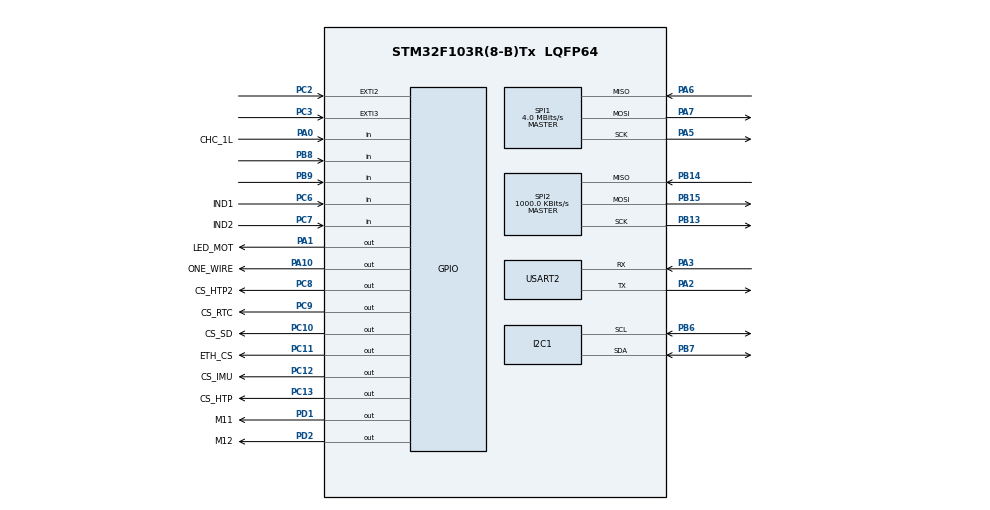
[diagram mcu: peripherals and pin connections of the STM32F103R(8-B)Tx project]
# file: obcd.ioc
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FREERTOS.Mutexes01=mxSensorData,Dynamic,NULL;mxUart,Dynamic,NULL;mxSPI1,Dynamic,NULL;mxSPI2,Dynamic,NULL;mxMotor,Dynamic,NULL;mxSensorConfig,Dynamic,NULL;mxI2C,Dynamic,NULL
FREERTOS.Tasks01=defaultTask,0,128,startDefaultTask,Default,NULL,Dynamic,NULL,NULL;vEthReceive,0,128,startEthReceive,Default,NULL,Dynamic,NULL,NULL;vEthStream,0,128,startEthStream,Default,NULL,Dynamic,NULL,NULL;vReadSensors,0,256,startReadSensors,Default,NULL,Dynamic,NULL,NULL;vControlMotor,0,128,startControlMotor,Default,NULL,Dynamic,NULL,NULL
FREERTOS.configTOTAL_HEAP_SIZE=8192
FREERTOS.configUSE_TIMERS=1
Mcu.Family=STM32F1
Mcu.Name=STM32F103R(8-B)Tx
Mcu.Package=LQFP64
NVIC.EXTI2_IRQn=true\:5\:0\:false\:false\:true\:true\:true
NVIC.EXTI3_IRQn=true\:5\:0\:false\:false\:true\:true\:true
NVIC.PriorityGroup=NVIC_PRIORITYGROUP_4
NVIC.TIM1_UP_IRQn=true\:0\:0\:false\:false\:true\:false\:false
NVIC.TimeBase=TIM1_UP_IRQn
NVIC.TimeBaseIP=TIM1
PA0-WKUP.GPIO_Label=CHC_1L
PA0-WKUP.Signal=GPIO_Input
PA1.GPIO_Label=LED_MOT
PA1.Signal=GPIO_Output
PA10.GPIO_Label=ONE_WIRE
PA10.Signal=GPIO_Output
PA2.Mode=Asynchronous
PA2.Signal=USART2_TX
PA3.Mode=Asynchronous
PA3.Signal=USART2_RX
PA5.Mode=Full_Duplex_Master
PA5.Signal=SPI1_SCK
PA6.Mode=Full_Duplex_Master
PA6.Signal=SPI1_MISO
PA7.Mode=Full_Duplex_Master
PA7.Signal=SPI1_MOSI
PB13.Mode=Full_Duplex_Master
PB13.Signal=SPI2_SCK
PB14.Mode=Full_Duplex_Master
PB14.Signal=SPI2_MISO
PB15.Mode=Full_Duplex_Master
PB15.Signal=SPI2_MOSI
PB6.Mode=I2C
PB6.Signal=I2C1_SCL
PB7.Mode=I2C
PB7.Signal=I2C1_SDA
PB8.Signal=GPIO_Input
PB9.Signal=GPIO_Input
PC10.GPIO_Label=CS_SD
PC10.Signal=GPIO_Output
PC11.GPIO_Label=ETH_CS
PC11.Signal=GPIO_Output
PC12.GPIO_Label=CS_IMU
PC12.Signal=GPIO_Output
PC13-TAMPER-RTC.GPIO_Label=CS_HTP
PC13-TAMPER-RTC.Signal=GPIO_Output
PC2.Signal=GPXTI2
PC3.Signal=GPXTI3
PC6.GPIO_Label=IND1
PC6.GPIO_PuPd=GPIO_PULLDOWN
PC6.Signal=GPIO_Input
PC7.GPIO_Label=IND2
PC7.GPIO_PuPd=GPIO_PULLDOWN
PC7.Signal=GPIO_Input
PC8.GPIO_Label=CS_HTP2
PC8.Signal=GPIO_Output
PC9.GPIO_Label=CS_RTC
PC9.Signal=GPIO_Output
PD1-OSC_OUT.GPIO_Label=M11
PD1-OSC_OUT.Signal=GPIO_Output
PD2.GPIO_Label=M12
PD2.Signal=GPIO_Output
ProjectManager.HeapSize=0x200
ProjectManager.StackSize=0x400
ProjectManager.TargetToolchain=SW4STM32
RCC.APB1Freq_Value=8000000
RCC.APB2Freq_Value=8000000
SPI1.CalculateBaudRate=4.0 MBits/s
SPI1.Direction=SPI_DIRECTION_2LINES
SPI1.Mode=SPI_MODE_MASTER
SPI1.VirtualType=VM_MASTER
SPI2.BaudRatePrescaler=SPI_BAUDRATEPRESCALER_8
SPI2.CalculateBaudRate=1000.0 KBits/s
SPI2.Direction=SPI_DIRECTION_2LINES
SPI2.Mode=SPI_MODE_MASTER
SPI2.VirtualType=VM_MASTER
USART2.VirtualMode=VM_ASYNC
VP_FREERTOS_VS_ENABLE.Mode=Enabled
VP_SYS_VS_ND.Mode=No_Debug
VP_SYS_VS_tim1.Mode=TIM1
board=custom

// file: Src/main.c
// TODO
// porzadek w nazwach plikow
// junk code removal
// lista rzeczy do zrobienia
// obsluga karty SD

/**
  ******************************************************************************
  * @file           : main.c
  * @brief          : Main program body
  ******************************************************************************
  * This notice applies to any and all portions of this file
  * that are not between comment pairs USER CODE BEGIN and
  * USER CODE END. Other portions of this file, whether
  * inserted by the user or by software development tools
  * are owned by their respective copyright owners.
  *
  * Copyright (c) 2018 STMicroelectronics International N.V.
  * All rights reserved.
  *
  * Redistribution and use in source and binary forms, with or without
  * modification, are permitted, provided that the following conditions are met:
  *
  * 1. Redistribution of source code must retain the above copyright notice,
  *    this list of conditions and the following disclaimer.
  * 2. Redistributions in binary form must reproduce the above copyright notice,
  *    this list of conditions and the following disclaimer in the documentation
  *    and/or other materials provided with the distribution.
  * 3. Neither the name of STMicroelectronics nor the names of other
  *    contributors to this software may be used to endorse or promote products
  *    derived from this software without specific written permission.
  * 4. This software, including modifications and/or derivative works of this
  *    software, must execute solely and exclusively on microcontroller or
  *    microprocessor devices manufactured by or for STMicroelectronics.
  * 5. Redistribution and use of this software other than as permitted under
  *    this license is void and will automatically terminate your rights under
  *    this license.
  *
  * THIS SOFTWARE IS PROVIDED BY STMICROELECTRONICS AND CONTRIBUTORS "AS IS"
  * AND ANY EXPRESS, IMPLIED OR STATUTORY WARRANTIES, INCLUDING, BUT NOT
  * LIMITED TO, THE IMPLIED WARRANTIES OF MERCHANTABILITY, FITNESS FOR A
  * PARTICULAR PURPOSE AND NON-INFRINGEMENT OF THIRD PARTY INTELLECTUAL PROPERTY
  * RIGHTS ARE DISCLAIMED TO THE FULLEST EXTENT PERMITTED BY LAW. IN NO EVENT
  * SHALL STMICROELECTRONICS OR CONTRIBUTORS BE LIABLE FOR ANY DIRECT, INDIRECT,
  * INCIDENTAL, SPECIAL, EXEMPLARY, OR CONSEQUENTIAL DAMAGES (INCLUDING, BUT NOT
  * LIMITED TO, PROCUREMENT OF SUBSTITUTE GOODS OR SERVICES; LOSS OF USE, DATA,
  * OR PROFITS; OR BUSINESS INTERRUPTION) HOWEVER CAUSED AND ON ANY THEORY OF
  * LIABILITY, WHETHER IN CONTRACT, STRICT LIABILITY, OR TORT (INCLUDING
  * NEGLIGENCE OR OTHERWISE) ARISING IN ANY WAY OUT OF THE USE OF THIS SOFTWARE,
  * EVEN IF ADVISED OF THE POSSIBILITY OF SUCH DAMAGE.
  *
  ******************************************************************************
  */
#include "main.h"
#include "stm32f1xx_hal.h"
#include "cmsis_os.h"

/* USER CODE BEGIN Includes */
#include "lustro/imu_lustro.h"
#include "lustro/comm_lustro.h"
#include "lustro/eth_lustro.h"
#include "lustro/transducers.h"
#include "lustro/sd_lustro.h"
#include "lustro/config_lustro.h"
#include "lustro/data_lustro.h"
#include "lustro/MPU9250.h"

#include <string.h>

/* USER CODE END Includes */

I2C_HandleTypeDef hi2c1;

SPI_HandleTypeDef hspi1;
SPI_HandleTypeDef hspi2;

UART_HandleTypeDef huart2;

osThreadId defaultTaskHandle;
osThreadId vEthReceiveHandle;
osThreadId vEthStreamHandle;
osThreadId vReadSensorsHandle;
osThreadId vControlMotorHandle;
osMutexId mxSensorDataHandle;
osMutexId mxUartHandle;
osMutexId mxSPI1Handle;
osMutexId mxSPI2Handle;
osMutexId mxMotorHandle;
osMutexId mxSensorConfigHandle;
osMutexId mxI2CHandle;

/* USER CODE BEGIN PV */
/* Private variables ---------------------------------------------------------*/
/* USER CODE END PV */

void SystemClock_Config(void);
static void MX_GPIO_Init(void);
static void MX_I2C1_Init(void);
static void MX_SPI1_Init(void);
static void MX_SPI2_Init(void);
static void MX_USART2_UART_Init(void);
void startDefaultTask(void const * argument);
void startEthReceive(void const * argument);
void startEthStream(void const * argument);
void startReadSensors(void const * argument);
void startControlMotor(void const * argument);

/* USER CODE BEGIN PFP */
/* Private function prototypes -----------------------------------------------*/

/* USER CODE END PFP */

int main(void)
{

  /* MCU Configuration----------------------------------------------------------*/

  /* Reset of all peripherals, Initializes the Flash interface and the Systick. */
  HAL_Init();

  /* Configure the system clock */
  SystemClock_Config();

  /* Initialize all configured peripherals */
  MX_GPIO_Init();
  MX_I2C1_Init();
  MX_SPI1_Init();
  MX_SPI2_Init();
  MX_USART2_UART_Init();
  /* USER CODE BEGIN 2 */

	ES_enc28j60Init(MAC);
	ES_init_ip_arp_udp_tcp(MAC, ip, port);
	enc28j60PhyWrite(PHLCON, 0x476);

	uint8_t tmp = enc28j60Read(0x00);
	sprintf(buf_uart, "tmp: 0x%02x\n\r", tmp);
	uart_send(buf_uart);

	enc28j60clkout(2);
	uart_send("initiated\n\r");

	motor_param = P_MOT_STOPPED;
	motor_actual = A_MOT_STOPPED;
	downstream_enable = 1;

  /* USER CODE END 2 */

  /* Create the mutex(es) */
  /* definition and creation of mxSensorData */
  osMutexDef(mxSensorData);
  mxSensorDataHandle = osMutexCreate(osMutex(mxSensorData));

  /* definition and creation of mxUart */
  osMutexDef(mxUart);
  mxUartHandle = osMutexCreate(osMutex(mxUart));

  /* definition and creation of mxSPI1 */
  osMutexDef(mxSPI1);
  mxSPI1Handle = osMutexCreate(osMutex(mxSPI1));

  /* definition and creation of mxSPI2 */
  osMutexDef(mxSPI2);
  mxSPI2Handle = osMutexCreate(osMutex(mxSPI2));

  /* definition and creation of mxMotor */
  osMutexDef(mxMotor);
  mxMotorHandle = osMutexCreate(osMutex(mxMotor));

  /* definition and creation of mxSensorConfig */
  osMutexDef(mxSensorConfig);
  mxSensorConfigHandle = osMutexCreate(osMutex(mxSensorConfig));

  /* definition and creation of mxI2C */
  osMutexDef(mxI2C);
  mxI2CHandle = osMutexCreate(osMutex(mxI2C));

  /* Create the thread(s) */
  /* definition and creation of defaultTask */
  osThreadDef(defaultTask, startDefaultTask, osPriorityNormal, 0, 128);
  defaultTaskHandle = osThreadCreate(osThread(defaultTask), NULL);

  /* definition and creation of vEthReceive */
  osThreadDef(vEthReceive, startEthReceive, osPriorityNormal, 0, 128);
  vEthReceiveHandle = osThreadCreate(osThread(vEthReceive), NULL);

  /* definition and creation of vEthStream */
  osThreadDef(vEthStream, startEthStream, osPriorityNormal, 0, 128);
  vEthStreamHandle = osThreadCreate(osThread(vEthStream), NULL);

  /* definition and creation of vReadSensors */
  osThreadDef(vReadSensors, startReadSensors, osPriorityNormal, 0, 256);
  vReadSensorsHandle = osThreadCreate(osThread(vReadSensors), NULL);

  /* definition and creation of vControlMotor */
  osThreadDef(vControlMotor, startControlMotor, osPriorityNormal, 0, 128);
  vControlMotorHandle = osThreadCreate(osThread(vControlMotor), NULL);

  /* Start scheduler */
  osKernelStart();

  /* We should never get here as control is now taken by the scheduler */

  /* Infinite loop */
	while (1)
	{

	}

}

void SystemClock_Config(void)
{

  RCC_OscInitTypeDef RCC_OscInitStruct;
  RCC_ClkInitTypeDef RCC_ClkInitStruct;

    /**Initializes the CPU, AHB and APB busses clocks
    */
  RCC_OscInitStruct.OscillatorType = RCC_OSCILLATORTYPE_HSI;
  RCC_OscInitStruct.HSIState = RCC_HSI_ON;
  RCC_OscInitStruct.HSICalibrationValue = 16;
  RCC_OscInitStruct.PLL.PLLState = RCC_PLL_NONE;
  if (HAL_RCC_OscConfig(&RCC_OscInitStruct) != HAL_OK)
  {
    _Error_Handler(__FILE__, __LINE__);
  }

    /**Initializes the CPU, AHB and APB busses clocks
    */
  RCC_ClkInitStruct.ClockType = RCC_CLOCKTYPE_HCLK|RCC_CLOCKTYPE_SYSCLK
                              |RCC_CLOCKTYPE_PCLK1|RCC_CLOCKTYPE_PCLK2;
  RCC_ClkInitStruct.SYSCLKSource = RCC_SYSCLKSOURCE_HSI;
  RCC_ClkInitStruct.AHBCLKDivider = RCC_SYSCLK_DIV1;
  RCC_ClkInitStruct.APB1CLKDivider = RCC_HCLK_DIV1;
  RCC_ClkInitStruct.APB2CLKDivider = RCC_HCLK_DIV1;

  if (HAL_RCC_ClockConfig(&RCC_ClkInitStruct, FLASH_LATENCY_0) != HAL_OK)
  {
    _Error_Handler(__FILE__, __LINE__);
  }

    /**Configure the Systick interrupt time
    */
  HAL_SYSTICK_Config(HAL_RCC_GetHCLKFreq()/1000);

    /**Configure the Systick
    */
  HAL_SYSTICK_CLKSourceConfig(SYSTICK_CLKSOURCE_HCLK);

  /* SysTick_IRQn interrupt configuration */
  HAL_NVIC_SetPriority(SysTick_IRQn, 15, 0);
}

/* I2C1 init function */
static void MX_I2C1_Init(void)
{

  hi2c1.Instance = I2C1;
  hi2c1.Init.ClockSpeed = 100000;
  hi2c1.Init.DutyCycle = I2C_DUTYCYCLE_2;
  hi2c1.Init.OwnAddress1 = 0;
  hi2c1.Init.AddressingMode = I2C_ADDRESSINGMODE_7BIT;
  hi2c1.Init.DualAddressMode = I2C_DUALADDRESS_DISABLE;
  hi2c1.Init.OwnAddress2 = 0;
  hi2c1.Init.GeneralCallMode = I2C_GENERALCALL_DISABLE;
  hi2c1.Init.NoStretchMode = I2C_NOSTRETCH_DISABLE;
  if (HAL_I2C_Init(&hi2c1) != HAL_OK)
  {
    _Error_Handler(__FILE__, __LINE__);
  }

}

/* SPI1 init function */
static void MX_SPI1_Init(void)
{

  /* SPI1 parameter configuration*/
  hspi1.Instance = SPI1;
  hspi1.Init.Mode = SPI_MODE_MASTER;
  hspi1.Init.Direction = SPI_DIRECTION_2LINES;
  hspi1.Init.DataSize = SPI_DATASIZE_8BIT;
  hspi1.Init.CLKPolarity = SPI_POLARITY_LOW;
  hspi1.Init.CLKPhase = SPI_PHASE_1EDGE;
  hspi1.Init.NSS = SPI_NSS_SOFT;
  hspi1.Init.BaudRatePrescaler = SPI_BAUDRATEPRESCALER_2;
  hspi1.Init.FirstBit = SPI_FIRSTBIT_MSB;
  hspi1.Init.TIMode = SPI_TIMODE_DISABLE;
  hspi1.Init.CRCCalculation = SPI_CRCCALCULATION_DISABLE;
  hspi1.Init.CRCPolynomial = 10;
  if (HAL_SPI_Init(&hspi1) != HAL_OK)
  {
    _Error_Handler(__FILE__, __LINE__);
  }

}

/* SPI2 init function */
static void MX_SPI2_Init(void)
{

  /* SPI2 parameter configuration*/
  hspi2.Instance = SPI2;
  hspi2.Init.Mode = SPI_MODE_MASTER;
  hspi2.Init.Direction = SPI_DIRECTION_2LINES;
  hspi2.Init.DataSize = SPI_DATASIZE_8BIT;
  hspi2.Init.CLKPolarity = SPI_POLARITY_LOW;
  hspi2.Init.CLKPhase = SPI_PHASE_1EDGE;
  hspi2.Init.NSS = SPI_NSS_SOFT;
  hspi2.Init.BaudRatePrescaler = SPI_BAUDRATEPRESCALER_8;
  hspi2.Init.FirstBit = SPI_FIRSTBIT_MSB;
  hspi2.Init.TIMode = SPI_TIMODE_DISABLE;
  hspi2.Init.CRCCalculation = SPI_CRCCALCULATION_DISABLE;
  hspi2.Init.CRCPolynomial = 10;
  if (HAL_SPI_Init(&hspi2) != HAL_OK)
  {
    _Error_Handler(__FILE__, __LINE__);
  }

}

/* USART2 init function */
static void MX_USART2_UART_Init(void)
{

  huart2.Instance = USART2;
  huart2.Init.BaudRate = 115200;
  huart2.Init.WordLength = UART_WORDLENGTH_8B;
  huart2.Init.StopBits = UART_STOPBITS_1;
  huart2.Init.Parity = UART_PARITY_NONE;
  huart2.Init.Mode = UART_MODE_TX_RX;
  huart2.Init.HwFlowCtl = UART_HWCONTROL_NONE;
  huart2.Init.OverSampling = UART_OVERSAMPLING_16;
  if (HAL_UART_Init(&huart2) != HAL_OK)
  {
    _Error_Handler(__FILE__, __LINE__);
  }

}

/** Configure pins as
        * Analog
        * Input
        * Output
        * EVENT_OUT
        * EXTI
*/
static void MX_GPIO_Init(void)
{

  GPIO_InitTypeDef GPIO_InitStruct;

  /* GPIO Ports Clock Enable */
  __HAL_RCC_GPIOC_CLK_ENABLE();
  __HAL_RCC_GPIOD_CLK_ENABLE();
  __HAL_RCC_GPIOA_CLK_ENABLE();
  __HAL_RCC_GPIOB_CLK_ENABLE();

  /*Configure GPIO pin Output Level */
  HAL_GPIO_WritePin(GPIOC, CS_HTP_Pin|CS_HTP2_Pin|CS_RTC_Pin|CS_SD_Pin
                          |ETH_CS_Pin|CS_IMU_Pin, GPIO_PIN_RESET);

  /*Configure GPIO pin Output Level */
  HAL_GPIO_WritePin(GPIOD, M11_Pin|M12_Pin, GPIO_PIN_RESET);

  /*Configure GPIO pin Output Level */
  HAL_GPIO_WritePin(GPIOA, LED_MOT_Pin|ONE_WIRE_Pin, GPIO_PIN_RESET);

  /*Configure GPIO pins : CS_HTP_Pin CS_HTP2_Pin CS_RTC_Pin CS_SD_Pin
                           ETH_CS_Pin CS_IMU_Pin */
  GPIO_InitStruct.Pin = CS_HTP_Pin|CS_HTP2_Pin|CS_RTC_Pin|CS_SD_Pin
                          |ETH_CS_Pin|CS_IMU_Pin;
  GPIO_InitStruct.Mode = GPIO_MODE_OUTPUT_PP;
  GPIO_InitStruct.Pull = GPIO_NOPULL;
  GPIO_InitStruct.Speed = GPIO_SPEED_FREQ_LOW;
  HAL_GPIO_Init(GPIOC, &GPIO_InitStruct);

  /*Configure GPIO pins : M11_Pin M12_Pin */
  GPIO_InitStruct.Pin = M11_Pin|M12_Pin;
  GPIO_InitStruct.Mode = GPIO_MODE_OUTPUT_PP;
  GPIO_InitStruct.Pull = GPIO_NOPULL;
  GPIO_InitStruct.Speed = GPIO_SPEED_FREQ_LOW;
  HAL_GPIO_Init(GPIOD, &GPIO_InitStruct);

  /*Configure GPIO pins : PC2 PC3 */
  GPIO_InitStruct.Pin = GPIO_PIN_2|GPIO_PIN_3;
  GPIO_InitStruct.Mode = GPIO_MODE_IT_RISING;
  GPIO_InitStruct.Pull = GPIO_NOPULL;
  HAL_GPIO_Init(GPIOC, &GPIO_InitStruct);

  /*Configure GPIO pin : CHC_1L_Pin */
  GPIO_InitStruct.Pin = CHC_1L_Pin;
  GPIO_InitStruct.Mode = GPIO_MODE_INPUT;
  GPIO_InitStruct.Pull = GPIO_NOPULL;
  HAL_GPIO_Init(CHC_1L_GPIO_Port, &GPIO_InitStruct);

  /*Configure GPIO pins : LED_MOT_Pin ONE_WIRE_Pin */
  GPIO_InitStruct.Pin = LED_MOT_Pin|ONE_WIRE_Pin;
  GPIO_InitStruct.Mode = GPIO_MODE_OUTPUT_PP;
  GPIO_InitStruct.Pull = GPIO_NOPULL;
  GPIO_InitStruct.Speed = GPIO_SPEED_FREQ_LOW;
  HAL_GPIO_Init(GPIOA, &GPIO_InitStruct);

  /*Configure GPIO pins : IND1_Pin IND2_Pin */
  GPIO_InitStruct.Pin = IND1_Pin|IND2_Pin;
  GPIO_InitStruct.Mode = GPIO_MODE_INPUT;
  GPIO_InitStruct.Pull = GPIO_PULLDOWN;
  HAL_GPIO_Init(GPIOC, &GPIO_InitStruct);

  /*Configure GPIO pins : PB8 PB9 */
  GPIO_InitStruct.Pin = GPIO_PIN_8|GPIO_PIN_9;
  GPIO_InitStruct.Mode = GPIO_MODE_INPUT;
  GPIO_InitStruct.Pull = GPIO_NOPULL;
  HAL_GPIO_Init(GPIOB, &GPIO_InitStruct);

  /*Configure peripheral I/O remapping */
  __HAL_AFIO_REMAP_PD01_ENABLE();

  /* EXTI interrupt init*/
  HAL_NVIC_SetPriority(EXTI2_IRQn, 5, 0);
  HAL_NVIC_EnableIRQ(EXTI2_IRQn);

  HAL_NVIC_SetPriority(EXTI3_IRQn, 5, 0);
  HAL_NVIC_EnableIRQ(EXTI3_IRQn);

}

/* startDefaultTask function */
void startDefaultTask(void const * argument)
{

  /* USER CODE BEGIN 5 */
	/* Infinite loop */
	for(;;) {
//		xSemaphoreTake(mxUartHandle, UART_TIMEOUT);
//		uart_send("default\n\r");
//		xSemaphoreGive(mxUartHandle);
		osDelay(1);
	}
  /* USER CODE END 5 */
}

/* startEthReceive function */
void startEthReceive(void const * argument)
{
  /* USER CODE BEGIN startEthReceive */
	/* Infinite loop */
	uint8_t flag = 10;
	for(;;) {
		xSemaphoreTake(mxSPI1Handle, SPI1_TIMEOUT);
		if ( !eth_pktrecv_valid() ) {
			xSemaphoreGive(mxSPI1Handle);
			osDelay(1);
			continue;
		}
		received_size = enc28j60PacketReceive(REC_BUF_SIZE, received);
		xSemaphoreTake(mxMotorHandle, MOTOR_TIMEOUT);
		flag = eth_packet_handler(received, received_size);
		xSemaphoreGive(mxMotorHandle);
		xSemaphoreGive(mxSPI1Handle);

		xSemaphoreTake( mxUartHandle, UART_TIMEOUT);
		if (flag == 0)
			uart_send("not for us\n\r");
		else if ( flag == 1 )
			uart_send("ARP received\n\r");
		else if (flag == 2)
			uart_send("Ping received\n\r");
		else if (flag == 3)
			uart_send("SYN received\n\r");
		else if (flag == 4)
			uart_send("FIN received\n\r");
		else if (flag == 5)
			uart_send("keep-alive received\n\r");
		else if (flag == 6)
			uart_send("ACK received\n\r");
		else
			uart_send("flag unknown\n\r");
		xSemaphoreGive( mxUartHandle );
		osDelay(1);
	}
  /* USER CODE END startEthReceive */
}

/* startEthStream function */
void startEthStream(void const * argument)
{
  /* USER CODE BEGIN startEthStream */
	/* Infinite loop */
	for(;;) {
		if ( !downstream_enable ) {
			osDelay(1);
			continue;
		}
		xSemaphoreTake(mxSensorDataHandle, DATA_TIMEOUT);
		xSemaphoreTake(mxSPI1Handle, SPI1_TIMEOUT);
		udp_send(data_readouts, LEN_DATA_TO_SEND);
		xSemaphoreGive(mxSPI1Handle);
		sprintf( mes_udp, "UDP sent\n\r");
//		sprintf(mes_udp, "UDP Packet:\n\r\t0x%02x\t0x%02x\t0x%02x\t0x%02x\n\r"
//				"\t0x%02x\t0x%02x\t0x%02x\t0x%02x\n\r"
//				"\t0x%02x\t0x%02x\t0x%02x\t0x%02x\n\r"
//				"\t0x%02x\t0x%02x\t0x%02x\t0x%02x\n\r"
//				"\t0x%02x\t0x%02x\t0x%02x\t0x%02x\n\r",
//				data_readouts[0], data_readouts[1], data_readouts[2], data_readouts[3],
//				data_readouts[4], data_readouts[5], data_readouts[6], data_readouts[7],
//				data_readouts[8], data_readouts[9], data_readouts[10], data_readouts[11],
//				data_readouts[12], data_readouts[13], data_readouts[14], data_readouts[15],
//				data_readouts[16], data_readouts[17], data_readouts[18], data_readouts[19]);
		xSemaphoreGive(mxSensorDataHandle);
		xSemaphoreTake( mxUartHandle, UART_TIMEOUT );
		uart_send(mes_udp);
		xSemaphoreGive( mxUartHandle );
		osDelay(10 * downstream_interval);
		//osDelay(1);
	}
  /* USER CODE END startEthStream */
}

/* startReadSensors function */
void startReadSensors(void const * argument)
{
  /* USER CODE BEGIN startReadSensors */
	/* Infinite loop */

	xSemaphoreTake(mxSensorConfigHandle, SENSORCONFIG_TIMEOUT);
	configAbra = configADC(defaultAbraPGA, mode_continuous, defaultAbraDR);
	configKadabra = configADC(defaultKadabraPGA, mode_continuous, defaultKadabraDR);
	configRaichu = configADC(defaultRaichuPGA, mode_continuous, defaultRaichuDR);
	configDiglett = configADC(defaultDiglettPGA, mode_continuous, defaultDiglettDR);

	xSemaphoreTake(mxI2CHandle, I2C_TIMEOUT);
	saveConfigADC( &hi2c1, aDiglett, configDiglett );
	saveConfigADC( &hi2c1, aAbra, configAbra );
	saveConfigADC( &hi2c1, aKadabra, configKadabra );
	saveConfigADC( &hi2c1, aRaichu, configRaichu );
	xSemaphoreGive(mxI2CHandle);

	uint16_t dest1[3] = {0};
	uint16_t dest2[3] = {0};
	xSemaphoreTake(mxSPI2Handle, SPI2_TIMEOUT);
	calibrateIMU(dest1, dest2);
	xSemaphoreGive(mxSPI2Handle);

	xSemaphoreGive(mxSensorConfigHandle);

	uint16_t wDiglett = 0, wAbra = 0 , wKadabra = 0, wRaichu = 0;
	uint16_t wIMUGyroX = 0, wIMUGyroY = 0, wIMUGyroZ = 0;
	uint16_t wIMUAccX = 0, wIMUAccY = 0, wIMUAccZ = 0;
	uint16_t wIMUMagX = 0, wIMUMagY = 0, wIMUMagZ = 0;
	uint16_t wIMUTemp = 0;

	uint16_t counter = 0;
	int temp_int = 0;

	uint8_t data[32] = {0}; // 6 bytes each
	uint8_t address[32];

	for(;;) {
		uptime = xTaskGetTickCount();

		if( write_new_conf_adc ) { // save new ADC configuration to sensors
			xSemaphoreTake(mxSensorConfigHandle, SENSORCONFIG_TIMEOUT);
			xSemaphoreTake(mxI2CHandle, I2C_TIMEOUT);
			saveConfigADC( &hi2c1, aDiglett, configDiglett );
			saveConfigADC( &hi2c1, aAbra, configAbra );
			saveConfigADC( &hi2c1, aKadabra, configKadabra );
			saveConfigADC( &hi2c1, aRaichu, configRaichu );
			write_new_conf_adc = 0;
			xSemaphoreGive(mxI2CHandle);
			xSemaphoreGive(mxSensorConfigHandle);
		}

		xSemaphoreTake( mxI2CHandle, I2C_TIMEOUT);
		wDiglett = readADC(aDiglett);
		wAbra = readADC(aAbra);
		wKadabra = readADC(aKadabra);
		wRaichu = readADC(aRaichu);
		xSemaphoreGive( mxI2CHandle );

//		xSemaphoreTake( mxSPI2Handle, SPI2_TIMEOUT);
//		readIMUGyro( &wIMUGyroX, &wIMUGyroY, &wIMUGyroZ );
//		xSemaphoreGive( mxSPI2Handle );
		IMURead(ACCEL_XOUT_H, 14, data);
//		address[0] = 0xBB;
//		HAL_GPIO_WritePin(CS_IMU_GPIO_Port, CS_IMU_Pin, GPIO_PIN_RESET);
//		xSemaphoreTake( mxSPI2Handle, SPI2_TIMEOUT);
//		HAL_SPI_TransmitReceive(&hspi2, address, data, 15, HAL_MAX_DELAY);
//		xSemaphoreGive( mxSPI2Handle );
//		HAL_GPIO_WritePin(CS_IMU_GPIO_Port, CS_IMU_Pin, GPIO_PIN_SET);
		wIMUAccX = (uint16_t)data[1] << 8 | data[2];
		wIMUAccY = (uint16_t)data[3] << 8 | data[4];
		wIMUAccZ = (uint16_t)data[5] << 8 | data[6];
		wIMUTemp = (uint16_t)data[7] << 8 | data[8];
		wIMUGyroX = (uint16_t)data[9] << 8 | data[10];
		wIMUGyroY = (uint16_t)data[11] << 8 | data[12];
		wIMUGyroZ = (uint16_t)data[13] << 8 | data[14];

		xSemaphoreTake( mxSensorDataHandle, DATA_TIMEOUT );
		data_readouts[0] = wDiglett;
		data_readouts[1] = wDiglett >> 8;

		data_readouts[2] = wAbra;
		data_readouts[3] = wAbra >> 8;

		data_readouts[4] = wKadabra;
		data_readouts[5] = wKadabra >> 8;

		data_readouts[6] = wRaichu;
		data_readouts[7] = wRaichu >> 8;

		data_readouts[8] = uptime;
		data_readouts[9] = uptime >> 8;
		data_readouts[10] = uptime >> 16;
		data_readouts[11] = uptime >> 24;

		data_readouts[12] = wIMUGyroX;
		data_readouts[13] = wIMUGyroX >> 8;

		data_readouts[14] = wIMUGyroY;
		data_readouts[15] = wIMUGyroY >> 8;

		data_readouts[16] = wIMUGyroZ;
		data_readouts[17] = wIMUGyroZ >> 8;

		data_readouts[18] = wIMUAccX;
		data_readouts[19] = wIMUAccX >> 8;

		data_readouts[20] = wIMUAccY;
		data_readouts[21] = wIMUAccY >> 8;

		data_readouts[22] = wIMUAccZ;
		data_readouts[23] = wIMUAccZ >> 8;

		data_readouts[24] = wIMUMagX;
		data_readouts[25] = wIMUMagX >> 8;

		data_readouts[26] = wIMUMagY;
		data_readouts[27] = wIMUMagY >> 8;

		data_readouts[28] = wIMUMagZ;
		data_readouts[29] = wIMUMagZ >> 8;

		data_readouts[30] = rotation_number;
		data_readouts[31] = rotation_number >> 8;

		data_readouts[32] = wIMUTemp;
		data_readouts[33] = wIMUTemp >> 8;
		data_readouts[34] = 0xFF;
		data_readouts[35] = 0xFF;
		data_readouts[36] = 0xFE;
		data_readouts[37] = 0xFF;

		xSemaphoreGive( mxSensorDataHandle );

		xSemaphoreTake( mxUartHandle, UART_TIMEOUT);
		sprintf( buf_uart,
				"t=%d\t%d\t%d\t%d\t%d\t%d\t%d\t%d\t%d\t%d\n\r",
				uptime, counter++, wDiglett, //wAbra, wKadabra, wRaichu,
				wIMUGyroX, wIMUGyroY, wIMUGyroZ,
				wIMUAccX, wIMUAccY, wIMUAccZ,
				wIMUTemp
				);
		uart_send( buf_uart );
		xSemaphoreGive( mxUartHandle);

//		if ( downstream_enable ) {
//			xSemaphoreTake(mxSensorDataHandle, DATA_TIMEOUT);
//			xSemaphoreTake(mxSPI1Handle, SPI1_TIMEOUT);
//			udp_send(data_readouts, LEN_DATA_TO_SEND);
//			xSemaphoreGive(mxSPI1Handle);
//			sprintf(mes_udp, "UDP Packet:\n\r\t0x%02x\t0x%02x\t0x%02x\t0x%02x\n\r"
//					"\t0x%02x\t0x%02x\t0x%02x\t0x%02x\n\r"
//					"\t0x%02x\t0x%02x\t0x%02x\t0x%02x\n\r",
//					data_readouts[0], data_readouts[1], data_readouts[2], data_readouts[3],
//					data_readouts[4], data_readouts[5], data_readouts[6], data_readouts[7],
//					data_readouts[28], data_readouts[29], data_readouts[30], data_readouts[31]);
//			xSemaphoreGive(mxSensorDataHandle);
//		}

		osDelay( 1 * data_readout_interval );
	}
  /* USER CODE END startReadSensors */
}

/* startControlMotor function */
void startControlMotor(void const * argument)
{
  /* USER CODE BEGIN startControlMotor */

  /* Infinite loop */
	for(;;) {
		xSemaphoreTake( mxMotorHandle, MOTOR_TIMEOUT );
		if ( motor_param != motor_actual) {
			if ( motor_param == P_MOT_RIGHT ) {
				enableMotorRight();
				motor_actual = A_MOT_RIGHT;
			}
			else if ( motor_param == P_MOT_LEFT ) {
				if ( motor_actual == A_MOT_RIGHT ) {
					disableMotor();
					motor_actual = A_MOT_STOPPED;
					for (uint16_t i = 0; i < 10000; i++);
				}
				enableMotorLeft();
				motor_actual = A_MOT_LEFT;
			}
			else if ( motor_param == P_MOT_STOPPED) {
				disableMotor();
				motor_actual = A_MOT_STOPPED;
			}
		}
		xSemaphoreGive( mxMotorHandle );
//		//read_temp( temp , no );
//		//temp_int = ds18b20_read_temp();
////		if ( temp > MAX_MOT_TEMP ) {
////			motor_enable = 0;
////			//NVIC_SystemReset();
////		}
//		/*
//		 * GPIO_InitStruct.Pin = IND1_Pin|IND2_Pin;
//		 * GPIO_InitStruct.Mode = GPIO_MODE_INPUT;
//		 * GPIO_InitStruct.Pull = GPIO_PULLDOWN;
//		 * HAL_GPIO_Init(GPIOC, &GPIO_InitStruct);
//		 */
//		if ( HAL_GPIO_ReadPin(GPIOC, IND2_Pin) == GPIO_PIN_SET ) { // pin IND2 ustawiony jako alarm
//			motor_enable = 0;
//			HAL_Delay(10);
//		}
//		if( motor_enable && !motor_enabled ) {
//			enableMotorRight();
//			motor_enabled = 1;
//		}
//		else if ( !motor_enable && motor_enabled) {
//			disableMotor();
//			motor_enabled = 0;
//		}
		osDelay(1);
  }
  /* USER CODE END startControlMotor */
}

void HAL_TIM_PeriodElapsedCallback(TIM_HandleTypeDef *htim)
{
  if (htim->Instance == TIM1) {
    HAL_IncTick();
  }
}

void _Error_Handler(char *file, int line)
{
	while(1)
	{
	}
}

/************************ (C) COPYRIGHT STMicroelectronics *****END OF FILE****/
